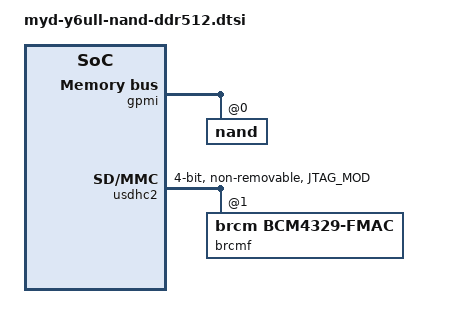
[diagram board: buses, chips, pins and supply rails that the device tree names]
// SPDX-License-Identifier: GPL-2.0
/*
 * NAND + 512MiB DRAM (DDR512 SKU): myd-y6ull-14x14-nand-ddr512(.dts) and -ecspi.
 * GPMI fixed-partitions (512MiB raw flash), SDIO WiFi on USDHC2.
 * WiFi pinctrl is here so dtc always resolves the phandle (pinctrl_wifi_nand).
 */

&iomuxc {
	myd-y6ulx {
		pinctrl_wifi_nand: wifigrp-nand {
			fsl,pins = <
				MX6UL_PAD_JTAG_MOD__GPIO1_IO10		0x17059 /* WiFi module power */
			>;
		};
	};
};

&{/memory@80000000} {
	reg = <0x80000000 0x20000000>;
};

&{/reserved-memory/linux,cma} {
	size = <0x0a000000>;
};

&qspi {
	status = "disabled";
};

&gpmi {
	pinctrl-names = "default";
	pinctrl-0 = <&pinctrl_gpmi_nand_1>;
	fsl,max-nand-cs = <1>;
	status = "okay";

	nand@0 {
		reg = <0>;
		nand-on-flash-bbt;
		fsl,use-minimum-ecc;
	};

	partitions {
		compatible = "fixed-partitions";
		#address-cells = <1>;
		#size-cells = <1>;

		partition@0 {
			label = "boot";
			reg = <0x00000000 0x00500000>;
		};
		partition@500000 {
			label = "env";
			reg = <0x00500000 0x00100000>;
		};
		partition@600000 {
			label = "kernel";
			reg = <0x00600000 0x00a00000>;
		};
		partition@1000000 {
			label = "dtb";
			reg = <0x01000000 0x00100000>;
		};
		/* 512MiB raw: 0x10000000 - 0x20000000 */
		partition@1100000 {
			label = "rootfs";
			reg = <0x01100000 0x1ef00000>;
		};
	};
};

&usdhc2 {
	#address-cells = <1>;
	#size-cells = <0>;
	pinctrl-names = "default";
	max-frequency = <50000000>;
	pinctrl-0 = <&pinctrl_usdhc2_alt &pinctrl_wifi_nand>;
	bus-width = <4>;
	no-1-8-v;
	non-removable;
	pm-ignore-notify;
	cap-power-off-card;
	status = "okay";

	brcmf: bcrmf@1 {
		reg = <1>;
		compatible = "brcm,bcm4329-fmac";
	};
};
